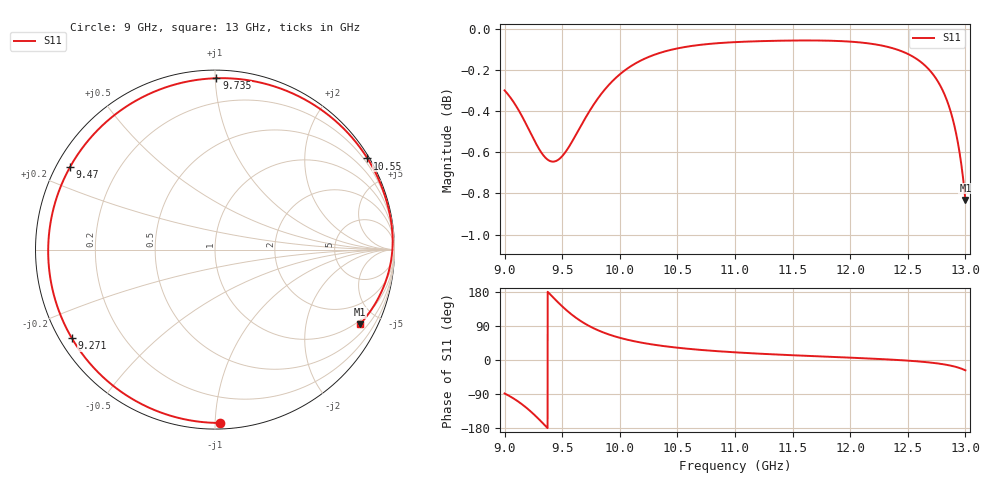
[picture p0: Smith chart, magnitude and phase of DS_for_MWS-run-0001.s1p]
! TOUCHSTONE file generated by CST DESIGN STUDIO
! Date and time: Tue Feb  4 15:57:14 2025
! Project name: C:\Work\MatlabApps\UnitCellOptimizationMatlab\CST\unitcell.cst
! Tree item: Tasks\Sweep1\SPara1\S-Parameters
! Header version: 2024
! Port assignment regex: !\s*Touchstone port\s*([0-9]+)\s*=\s*(CST MWS port|CST DES external port|CST DES block port)\s*(.+)\s* \(\"(.*)\"\)(\s*mode\s*([0-9]+))?.*
! Touchstone port assignment:
! Touchstone port 1 = CST DES external port 1 ("")
# GHz S MA R 50
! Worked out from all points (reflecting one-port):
!   4001 points, 9 GHz to 13 GHz, reference 50 ohm
!   lowest |S11| = -0.8 dB at 13 GHz (marker M1), VSWR 20.92, Z = 41.4 - j198 ohm
!   phase of S11 starts at -88 deg and turns -299 deg over the sweep
!   S11 on the Smith chart (normalised r, x): 9 GHz: 0.04, -1.03; 9.271 GHz: 0.03, -0.28; 9.47 GHz: 0.04, +0.27; 9.735 GHz: 0.05, +1.01; 10.55 GHz: 0.07, +3.62; 13 GHz: 0.83, -3.96
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9  0.9662 -88.2
9.079  0.9598 -101.8
9.146  0.9529 -115.7
9.209  0.9454 -131.1
9.271  0.938 -148.3
9.323  0.9328 -164.0
9.371  0.9296 -179.1
9.419  0.9284 165.8
9.47  0.9296 150.3
9.5  0.9313 141.6
9.553  0.9356 127.2
9.608  0.9412 114.0
9.668  0.9478 101.4
9.735  0.9548 89.5
9.861  0.966 72.2
10  0.9749 58.6
10.101  0.9796 51.1
10.216  0.9835 44.3
10.5  0.9891 32.4
10.549  0.9897 30.9
11  0.9926 20.3
11.5  0.9935 12.6
12  0.9929 6.2
12.5  0.9861 -1.7
12.668  0.9786 -5.9
12.799  0.9667 -10.8
12.911  0.9455 -17.7
13  0.9088 -27.3
